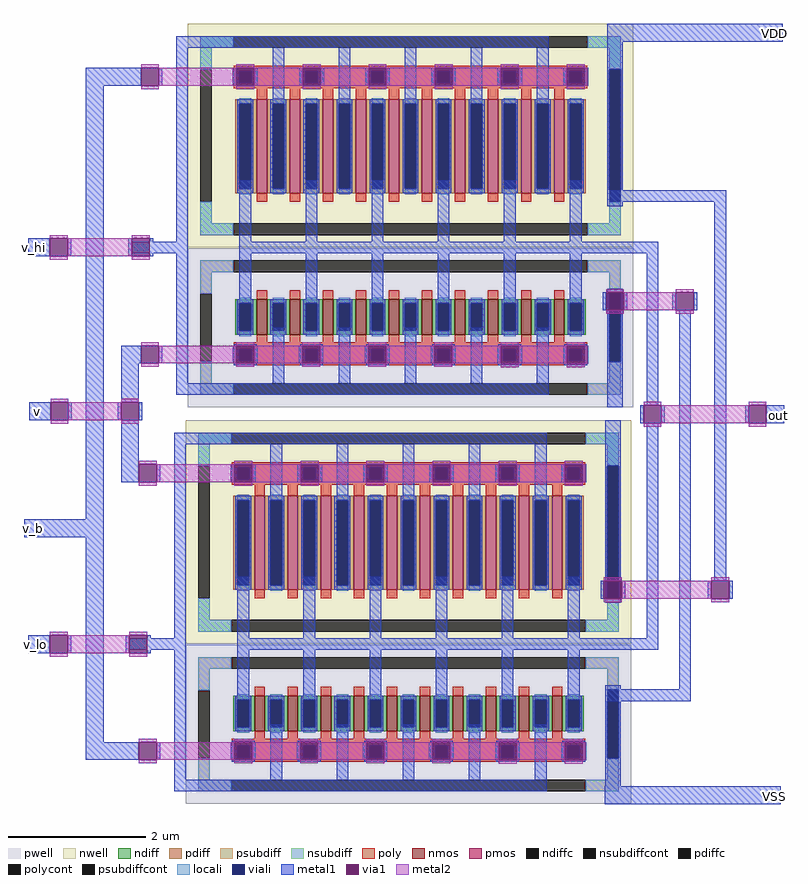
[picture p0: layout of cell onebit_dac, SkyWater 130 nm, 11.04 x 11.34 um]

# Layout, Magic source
magic
tech sky130A
magscale 1 2
<< metal1 >>
rect 1427 1062 1892 1114
rect -133 934 0 986
rect -300 438 -238 490
rect -186 438 -176 490
rect -298 -38 -236 14
rect -184 -38 -174 14
rect -133 -326 -81 934
rect 1387 596 1727 630
rect -10 438 0 490
rect 52 438 62 490
rect 1465 447 1530 481
rect 1368 281 1378 333
rect 1430 281 1440 333
rect -31 14 21 179
rect -41 -38 -31 14
rect 21 -38 31 14
rect 1496 5 1530 447
rect 1571 281 1581 333
rect 1633 281 1643 333
rect -31 -218 21 -38
rect 1477 -47 1487 5
rect 1539 -47 1549 5
rect -313 -378 -81 -326
rect -300 -715 -238 -663
rect -186 -715 -176 -663
rect -133 -973 -81 -378
rect 1362 -557 1372 -505
rect 1424 -557 1434 -505
rect -17 -715 -7 -663
rect 45 -715 55 -663
rect 1496 -671 1530 -47
rect 1483 -705 1530 -671
rect 1590 -820 1624 281
rect 1693 -505 1727 596
rect 1782 -47 1792 5
rect 1844 -47 1895 5
rect 1674 -557 1684 -505
rect 1736 -557 1746 -505
rect 1381 -854 1624 -820
rect -133 -1025 -6 -973
rect 1374 -1154 1885 -1102
<< via1 >>
rect -238 438 -186 490
rect -236 -38 -184 14
rect 0 438 52 490
rect 1378 281 1430 333
rect -31 -38 21 14
rect 1581 281 1633 333
rect 1487 -47 1539 5
rect -238 -715 -186 -663
rect 1372 -557 1424 -505
rect -7 -715 45 -663
rect 1792 -47 1844 5
rect 1684 -557 1736 -505
<< metal2 >>
rect -238 490 -186 500
rect 0 490 52 500
rect -186 438 0 490
rect -238 428 -186 438
rect 0 428 52 438
rect 1378 333 1430 343
rect 1581 333 1633 343
rect 1430 281 1581 333
rect 1378 271 1430 281
rect 1581 271 1633 281
rect -236 14 -184 24
rect -31 14 21 24
rect -184 -38 -31 14
rect -236 -48 -184 -38
rect -31 -48 21 -38
rect 1487 5 1539 15
rect 1792 5 1844 15
rect 1539 -47 1792 5
rect 1487 -57 1539 -47
rect 1792 -57 1844 -47
rect 1372 -505 1424 -495
rect 1684 -505 1736 -495
rect 1424 -557 1684 -505
rect 1372 -567 1424 -557
rect 1684 -567 1736 -557
rect -238 -663 -186 -653
rect -7 -663 45 -653
rect -186 -715 -7 -663
rect -238 -725 -186 -715
rect -7 -725 45 -715
use transmission_gate  transmission_gate_0 ~/ee372/incremental_delta_sigma_adc/design/analog_modulator/layout/transmission_gate
transform 1 0 216 0 1 51
box -216 -51 1283 1063
use transmission_gate  transmission_gate_1
transform 1 0 210 0 1 -1101
box -216 -51 1283 1063
<< labels >>
flabel metal1 -285 464 -285 464 1 FreeSans 400 0 0 0 v_hi
flabel metal1 -280 -690 -280 -690 1 FreeSans 400 0 0 0 v_lo
flabel metal1 -275 -14 -275 -14 1 FreeSans 400 0 0 0 v
flabel metal1 -286 -352 -286 -352 1 FreeSans 400 0 0 0 v_b
flabel metal1 1879 -24 1879 -24 1 FreeSans 400 0 0 0 out
flabel metal1 1868 1086 1868 1086 1 FreeSans 400 0 0 0 VDD
flabel metal1 1867 -1131 1867 -1131 1 FreeSans 400 0 0 0 VSS
<< end >>

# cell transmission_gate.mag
magic
tech sky130A
magscale 1 2
<< viali >>
rect 1171 545 1205 931
rect 1171 81 1205 281
<< metal1 >>
rect -87 993 995 1027
rect -216 883 -189 935
rect -137 883 -127 935
rect -87 430 -53 993
rect 78 883 88 935
rect 140 883 150 935
rect 193 832 227 993
rect 271 883 281 935
rect 333 883 343 935
rect 385 832 419 993
rect 462 883 472 935
rect 524 883 534 935
rect 577 832 611 993
rect 654 883 664 935
rect 716 883 726 935
rect 769 832 803 993
rect 846 883 856 935
rect 908 883 918 935
rect 961 832 995 993
rect 1038 883 1048 935
rect 1100 883 1110 935
rect 1165 931 1211 1063
rect -216 396 -53 430
rect -216 76 -189 128
rect -137 76 -127 128
rect -87 19 -53 396
rect 97 430 131 608
rect 289 430 323 608
rect 481 430 515 608
rect 673 430 707 608
rect 865 430 899 608
rect 1057 430 1091 608
rect 1165 545 1171 931
rect 1205 545 1211 931
rect 1165 533 1211 545
rect 97 396 1283 430
rect 97 253 131 396
rect 289 253 323 396
rect 481 253 515 396
rect 673 253 707 396
rect 865 253 899 396
rect 1057 253 1091 396
rect 1165 281 1211 293
rect 78 76 88 128
rect 140 76 150 128
rect 193 19 227 180
rect 269 76 279 128
rect 331 76 341 128
rect 385 19 419 180
rect 461 76 471 128
rect 523 76 533 128
rect 577 19 611 180
rect 653 76 663 128
rect 715 76 725 128
rect 769 19 803 180
rect 846 75 856 127
rect 908 75 918 127
rect 961 19 995 180
rect 1038 75 1048 127
rect 1100 75 1110 127
rect 1165 81 1171 281
rect 1205 81 1211 281
rect -87 -15 995 19
rect 1165 -51 1211 81
<< via1 >>
rect -189 883 -137 935
rect 88 883 140 935
rect 281 883 333 935
rect 472 883 524 935
rect 664 883 716 935
rect 856 883 908 935
rect 1048 883 1100 935
rect -189 76 -137 128
rect 88 76 140 128
rect 279 76 331 128
rect 471 76 523 128
rect 663 76 715 128
rect 856 75 908 127
rect 1048 75 1100 127
<< metal2 >>
rect -189 935 -137 945
rect 88 935 140 945
rect 281 935 333 945
rect 472 935 524 945
rect 664 935 716 945
rect 856 935 908 945
rect 1048 935 1100 945
rect -137 883 88 935
rect 140 883 281 935
rect 333 883 472 935
rect 524 883 664 935
rect 716 883 856 935
rect 908 883 1048 935
rect 1100 883 1107 935
rect -189 873 -137 883
rect 88 873 140 883
rect 281 873 333 883
rect 472 873 524 883
rect 664 873 716 883
rect 856 873 908 883
rect 1048 873 1100 883
rect -189 128 -137 138
rect 88 128 140 138
rect 279 128 331 138
rect 471 128 523 138
rect 663 128 715 138
rect 856 128 908 137
rect 1048 128 1100 137
rect -137 76 88 128
rect 140 76 279 128
rect 331 76 471 128
rect 523 76 663 128
rect 715 127 1107 128
rect 715 76 856 127
rect -189 66 -137 76
rect 88 66 140 76
rect 279 66 331 76
rect 471 66 523 76
rect 663 66 715 76
rect 908 76 1048 127
rect 856 65 908 75
rect 1100 76 1107 127
rect 1048 65 1100 75
use sky130_fd_pr__nfet_01v8_6J4AMR  sky130_fd_pr__nfet_01v8_6J4AMR_0
transform 1 0 593 0 1 211
box -646 -262 648 200
use sky130_fd_pr__pfet_01v8_UNG2NQ  sky130_fd_pr__pfet_01v8_UNG2NQ_0
transform -1 0 595 0 -1 707
box -646 -356 648 294
<< labels >>
flabel metal1 -211 909 -211 909 3 FreeSans 400 0 0 0 en_b
flabel metal1 -212 413 -212 413 3 FreeSans 400 0 0 0 in
flabel metal1 -212 102 -212 102 3 FreeSans 400 0 0 0 en
flabel metal1 1279 412 1279 412 7 FreeSans 400 0 0 0 out
flabel metal1 1188 1058 1188 1058 5 FreeSans 400 0 0 0 VDD
flabel metal1 1188 -48 1188 -48 1 FreeSans 400 0 0 0 VSS
<< end >>

# cell sky130_fd_pr__nfet_01v8_6J4AMR: kit device sky130_fd_pr__nfet_01v8, w 0.53 l 0.150 m 1 nf 10 diffcov 100 polycov 100 guard 1 glc 1 grc 1 gtc 1 gbc 1 tbcov 100 rlcov 100 topc 1 botc 1 poverlap 0 doverlap 1 lmin 0.15 wmin 0.42 compatible {sky130_fd_pr__nfet_01v8 sky130_fd_pr__nfet_01v8_lvt sky130_fd_bs_flash__special_sonosfet_star sky130_fd_pr__nfet_g5v0d10v5 sky130_fd_pr__nfet_05v0_nvt sky130_fd_pr__nfet_03v3_nvt} full_metal 1 viasrc 100 viadrn 100 viagate 100 viagb 0 viagr 0 viagl 0 viagt 0

# cell sky130_fd_pr__pfet_01v8_UNG2NQ: kit device sky130_fd_pr__pfet_01v8, w 1.37 l 0.15 m 1 nf 10 diffcov 100 polycov 100 guard 1 glc 1 grc 1 gtc 1 gbc 1 tbcov 100 rlcov 100 topc 1 botc 1 poverlap 0 doverlap 1 lmin 0.15 wmin 0.42 compatible {sky130_fd_pr__pfet_01v8 sky130_fd_pr__pfet_01v8_lvt sky130_fd_pr__pfet_01v8_hvt sky130_fd_pr__pfet_g5v0d10v5} full_metal 1 viasrc 100 viadrn 100 viagate 100 viagb 0 viagr 0 viagl 0 viagt 0
